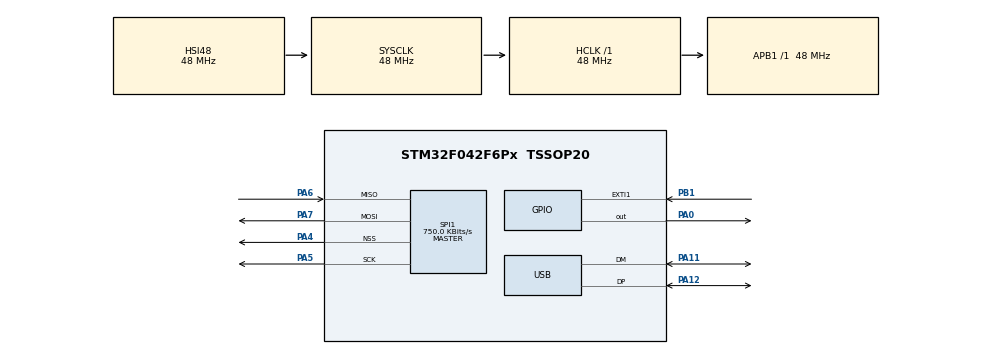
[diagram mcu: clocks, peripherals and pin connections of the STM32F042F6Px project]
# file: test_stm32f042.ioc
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Mcu.Family=STM32F0
Mcu.Name=STM32F042F6Px
Mcu.Package=TSSOP20
NVIC.USB_IRQn=true\:0\:0\:false
PA0.Signal=GPIO_Output
PA11.Mode=Device
PA11.Signal=USB_DM
PA12.Mode=Device
PA12.Signal=USB_DP
PA4.Mode=NSS_Signal_Hard_Output
PA4.Signal=SPI1_NSS
PA5.Mode=Full_Duplex_Master
PA5.Signal=SPI1_SCK
PA6.Mode=Full_Duplex_Master
PA6.Signal=SPI1_MISO
PA7.Mode=Full_Duplex_Master
PA7.Signal=SPI1_MOSI
PB1.Signal=GPXTI1
ProjectManager.HeapSize=0x400
ProjectManager.StackSize=0x200
ProjectManager.TargetToolchain=SW4STM32
RCC.AHBFreq_Value=48000000
RCC.APB1Freq_Value=48000000
RCC.APB1TimFreq_Value=48000000
RCC.HCLKFreq_Value=48000000
RCC.SYSCLKFreq_VALUE=48000000
RCC.SYSCLKSource=RCC_SYSCLKSOURCE_HSI48
SPI1.BaudRatePrescaler=SPI_BAUDRATEPRESCALER_64
SPI1.CalculateBaudRate=750.0 KBits/s
SPI1.DataSize=SPI_DATASIZE_8BIT
SPI1.Mode=SPI_MODE_MASTER
SPI1.VirtualNSS=VM_NSSHARD
USB_DEVICE.USBD_HandleTypeDef=hUsbDeviceFS
USB_DEVICE.VirtualMode=Cdc
USB_DEVICE.VirtualModeFS=Cdc_FS
VP_SYS_VS_PINREMAP.Mode=PINREMAP
VP_USB_DEVICE_VS_USB_DEVICE_CDC_FS.Mode=CDC_FS
board=test_stm32f042

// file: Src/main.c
/**
 ******************************************************************************
 * File Name          : main.c
 * Description        : Main program body
 ******************************************************************************
 *
 * COPYRIGHT(c) 2016 STMicroelectronics
 *
 * Redistribution and use in source and binary forms, with or without modification,
 * are permitted provided that the following conditions are met:
 *   1. Redistributions of source code must retain the above copyright notice,
 *      this list of conditions and the following disclaimer.
 *   2. Redistributions in binary form must reproduce the above copyright notice,
 *      this list of conditions and the following disclaimer in the documentation
 *      and/or other materials provided with the distribution.
 *   3. Neither the name of STMicroelectronics nor the names of its contributors
 *      may be used to endorse or promote products derived from this software
 *      without specific prior written permission.
 *
 * THIS SOFTWARE IS PROVIDED BY THE COPYRIGHT HOLDERS AND CONTRIBUTORS "AS IS"
 * AND ANY EXPRESS OR IMPLIED WARRANTIES, INCLUDING, BUT NOT LIMITED TO, THE
 * IMPLIED WARRANTIES OF MERCHANTABILITY AND FITNESS FOR A PARTICULAR PURPOSE ARE
 * DISCLAIMED. IN NO EVENT SHALL THE COPYRIGHT HOLDER OR CONTRIBUTORS BE LIABLE
 * FOR ANY DIRECT, INDIRECT, INCIDENTAL, SPECIAL, EXEMPLARY, OR CONSEQUENTIAL
 * DAMAGES (INCLUDING, BUT NOT LIMITED TO, PROCUREMENT OF SUBSTITUTE GOODS OR
 * SERVICES; LOSS OF USE, DATA, OR PROFITS; OR BUSINESS INTERRUPTION) HOWEVER
 * CAUSED AND ON ANY THEORY OF LIABILITY, WHETHER IN CONTRACT, STRICT LIABILITY,
 * OR TORT (INCLUDING NEGLIGENCE OR OTHERWISE) ARISING IN ANY WAY OUT OF THE USE
 * OF THIS SOFTWARE, EVEN IF ADVISED OF THE POSSIBILITY OF SUCH DAMAGE.
 *
 ******************************************************************************
 */
#include "stm32f0xx_hal.h"
#include "usb_device.h"

/* USER CODE BEGIN Includes */
#include "usbd_cdc_if.h"
/* USER CODE END Includes */

SPI_HandleTypeDef hspi1;

/* USER CODE BEGIN PV */
/* Private variables ---------------------------------------------------------*/

char * test_msg = "hello world !";
/* USER CODE END PV */

void SystemClock_Config(void);
static void MX_GPIO_Init(void);
static void MX_SPI1_Init(void);

/* USER CODE BEGIN PFP */
/* Private function prototypes -----------------------------------------------*/

/* USER CODE END PFP */

/* USER CODE BEGIN 0 */

uint16_t cmd_buffer, rx_buffer;
uint8_t processed_size = 0;
uint8_t hex_resp[4];
char * sep = " : " ;

void user_packet_handler(uint8_t* Buf, uint16_t Len) {
	int i;
	for (i = 0; i < Len; i++) {
		char c = Buf[i];
		if (c > 'a')
			c = c - ('a' - 'A');
		if (c >= '0' && c <= '9')
			c = c - '0';
		if (c >= 'A' && c <= 'F')
			c = (c - 'A') + 10;
		if (c >= 0 && c <= 15) {
			cmd_buffer = cmd_buffer << 4;
			cmd_buffer |= (c & 0x0F);
			processed_size ++;
			if (processed_size == 4) {
				if (HAL_SPI_TransmitReceive(&hspi1, &cmd_buffer, &rx_buffer,1, HAL_MAX_DELAY) == HAL_OK) {
					hex_resp[2] = '\r';
					hex_resp[3] = '\n';
					hex_resp[0] = (rx_buffer >> 4) & 0x0F;
					if (hex_resp[0] >= 0 && hex_resp[0] <= 9)
						hex_resp[0] += '0';
					else
						hex_resp[0] += ('A' - 10);

					hex_resp[1] = (rx_buffer) & 0x0F;
					if (hex_resp[1] >= 0 && hex_resp[1] <= 9)
						hex_resp[1] += '0';
					else
						hex_resp[1] += ('A' - 10);
					CDC_Transmit_FS(hex_resp, 4);
				}
				processed_size = 0;
			}
		} else {
			processed_size = 0;
			cmd_buffer = 0;
		}
	}

}

/* USER CODE END 0 */

int main(void) {

	/* MCU Configuration----------------------------------------------------------*/

	/* Reset of all peripherals, Initializes the Flash interface and the Systick. */
	HAL_Init();

	/* Configure the system clock */
	SystemClock_Config();

	/* Initialize all configured peripherals */
	MX_GPIO_Init();
	HAL_GPIO_WritePin(GPIOA, GPIO_PIN_0, GPIO_PIN_SET);
	MX_SPI1_Init();
	MX_USB_DEVICE_Init();

	/* Infinite loop */
	while (1) {
		//HAL_PWR_EnterSTOPMode(PWR_Regulator_LowPower, PWR_STOPEntry_WFI);
		HAL_GPIO_WritePin(GPIOA, GPIO_PIN_0, GPIO_PIN_SET);
		HAL_Delay(1000L);
		HAL_GPIO_WritePin(GPIOA, GPIO_PIN_0, GPIO_PIN_RESET);
		HAL_Delay(1000L);
	}

}

/** System Clock Configuration
 */
void SystemClock_Config(void) {

	RCC_OscInitTypeDef RCC_OscInitStruct;
	RCC_ClkInitTypeDef RCC_ClkInitStruct;
	RCC_PeriphCLKInitTypeDef PeriphClkInit;

	RCC_OscInitStruct.OscillatorType = RCC_OSCILLATORTYPE_HSI48;
	RCC_OscInitStruct.HSI48State = RCC_HSI48_ON;
	RCC_OscInitStruct.PLL.PLLState = RCC_PLL_NONE;
	HAL_RCC_OscConfig(&RCC_OscInitStruct);

	RCC_ClkInitStruct.ClockType = RCC_CLOCKTYPE_HCLK | RCC_CLOCKTYPE_SYSCLK
			| RCC_CLOCKTYPE_PCLK1;
	RCC_ClkInitStruct.SYSCLKSource = RCC_SYSCLKSOURCE_HSI48;
	RCC_ClkInitStruct.AHBCLKDivider = RCC_SYSCLK_DIV1;
	RCC_ClkInitStruct.APB1CLKDivider = RCC_HCLK_DIV1;
	HAL_RCC_ClockConfig(&RCC_ClkInitStruct, FLASH_LATENCY_1);

	PeriphClkInit.PeriphClockSelection = RCC_PERIPHCLK_USB;
	PeriphClkInit.UsbClockSelection = RCC_USBCLKSOURCE_HSI48;
	HAL_RCCEx_PeriphCLKConfig(&PeriphClkInit);

	HAL_SYSTICK_Config(HAL_RCC_GetHCLKFreq() / 1000);

	HAL_SYSTICK_CLKSourceConfig(SYSTICK_CLKSOURCE_HCLK);

	/* SysTick_IRQn interrupt configuration */
	HAL_NVIC_SetPriority(SysTick_IRQn, 0, 0);
}

/* SPI1 init function */
void MX_SPI1_Init(void) {

	hspi1.Instance = SPI1;
	hspi1.Init.Mode = SPI_MODE_MASTER;
	hspi1.Init.Direction = SPI_DIRECTION_2LINES;
	hspi1.Init.DataSize = SPI_DATASIZE_16BIT;
	hspi1.Init.CLKPolarity = SPI_POLARITY_LOW;
	hspi1.Init.CLKPhase = SPI_PHASE_1EDGE;
	hspi1.Init.NSS = SPI_NSS_HARD_OUTPUT;
	hspi1.Init.BaudRatePrescaler = SPI_BAUDRATEPRESCALER_64;
	hspi1.Init.FirstBit = SPI_FIRSTBIT_MSB;
	hspi1.Init.TIMode = SPI_TIMODE_DISABLED;
	hspi1.Init.CRCCalculation = SPI_CRCCALCULATION_DISABLED;
	hspi1.Init.CRCPolynomial = 7;
	hspi1.Init.CRCLength = SPI_CRC_LENGTH_DATASIZE;
	hspi1.Init.NSSPMode = SPI_NSS_PULSE_ENABLED;
	HAL_SPI_Init(&hspi1);

}

/** Configure pins as
 * Analog
 * Input
 * Output
 * EVENT_OUT
 * EXTI
 */
void MX_GPIO_Init(void) {

	GPIO_InitTypeDef GPIO_InitStruct;

	/* GPIO Ports Clock Enable */
	__GPIOA_CLK_ENABLE()
	;

	/*Configure GPIO pin Output Level */
	HAL_GPIO_WritePin(GPIOA, GPIO_PIN_0, GPIO_PIN_RESET);

	/*Configure GPIO pin : PA0 */
	GPIO_InitStruct.Pin = GPIO_PIN_0;
	GPIO_InitStruct.Mode = GPIO_MODE_OUTPUT_PP;
	GPIO_InitStruct.Pull = GPIO_NOPULL;
	GPIO_InitStruct.Speed = GPIO_SPEED_LOW;
	HAL_GPIO_Init(GPIOA, &GPIO_InitStruct);

}

/************************ (C) COPYRIGHT STMicroelectronics *****END OF FILE****/
